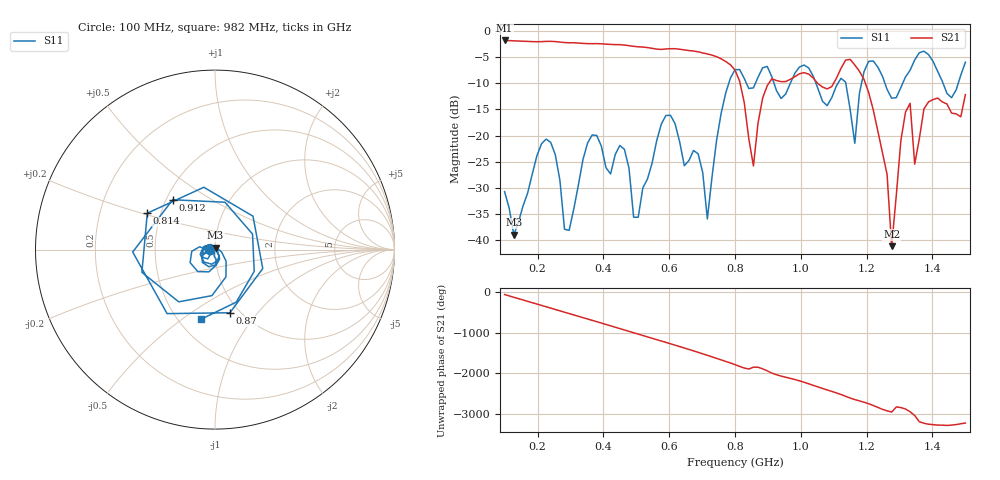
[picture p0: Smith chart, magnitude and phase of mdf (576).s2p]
! NanoVNA-App
! Date: 2025-09-25 15:42:54
! Start: 100MHz Stop: 1,5GHz Points: 101
! S-Parameter data: F S11 S21 S12 S22
# Hz S RI R 50
!  Frequency  S11_Real  S11_Imag  S21_Real  S21_Imag  S12_Real  S12_Imag  S22_Real  S22_Imag
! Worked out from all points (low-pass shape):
!   101 points, 100 MHz to 1.5 GHz, reference 50 ohm
!   highest |S21| = -1.80 dB at 100 MHz (marker M1); lowest = -41.2 dB at 1.276 GHz (marker M2)
!   |S21| within 3 dB of the highest: start of sweep to 739.4 MHz
!   lowest |S11| = -39.0 dB at 128 MHz (marker M3), VSWR 1.02, Z = 50.3 + j1.08 ohm
!   |S11| at or under -10 dB: start of sweep to 781 MHz; 918.6 MHz to 968.1 MHz (49.52 MHz wide, 5.25 % of centre); 1.046 GHz to 1.113 GHz (66.86 MHz wide, 6.19 % of centre) (the widest 3 of 7)
!   S12 and S22 are empty: the file has one direction only
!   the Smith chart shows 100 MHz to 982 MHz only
!   S11 on the Smith chart (normalised r, x): 100 MHz: 0.94, -0.01; 814 MHz: 0.42, +0.21; 870 MHz: 0.90, -0.73; 912 MHz: 0.54, +0.35; 982 MHz: 0.64, -0.59
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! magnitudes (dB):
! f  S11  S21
! 100 MHz  -30.7  -1.8
! 128 MHz  -39.0  -1.9
! 212 MHz  -21.6  -2.0
! 282 MHz  -37.9  -2.2
! 338 MHz  -24.6  -2.4
! 464 MHz  -22.6  -2.7
! 506 MHz  -35.6  -3.0
! 576 MHz  -17.8  -3.5
! 716 MHz  -35.9  -4.4
! 800 MHz  -7.4  -7.4
! 814 MHz  -7.4  -9.6
! 856 MHz  -10.9  -25.8
! 870 MHz  -8.8  -17.6
! 912 MHz  -8.8  -9.1
! 982 MHz  -8.1  -8.7
! 1.038 GHz  -8.7  -9.0
! 1.164 GHz  -21.5  -6.5
! 1.192 GHz  -7.8  -9.3
! 1.276 GHz  -12.8  -41.2
! 1.318 GHz  -8.8  -15.5
! 1.346 GHz  -5.5  -25.5
! 1.5 GHz  -6.0  -12.2
